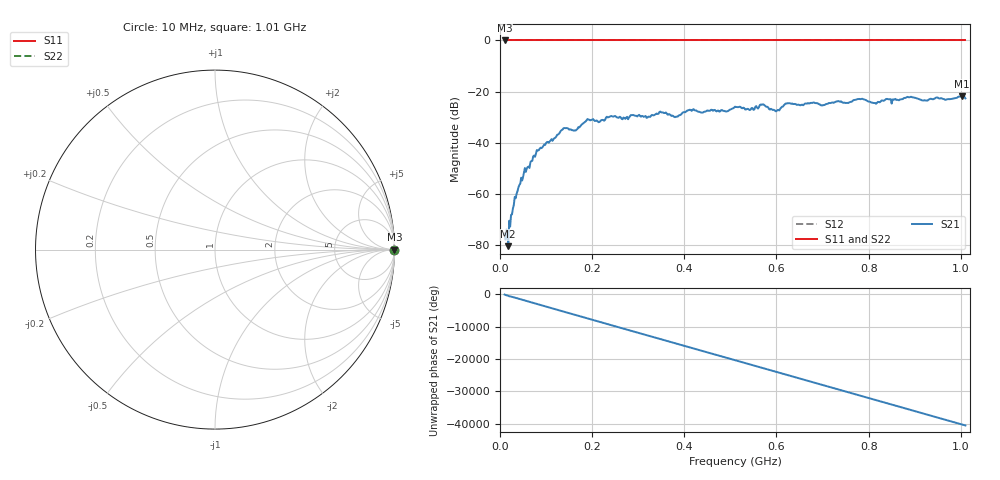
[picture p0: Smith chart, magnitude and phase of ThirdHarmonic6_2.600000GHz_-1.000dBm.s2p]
! 8/17/2025 5:37:36 AM
! C:\ANRITSUVNA\TEMP\TEMP.S2P
! CHANNEL.1
! TR.MEASUREMENT
! RAW.DATA
! RF.CORRECTION.OFF
! AVERAGING.OFF
! IF.BANDWIDTH: 5KHZ
! SWEEPTYPE:  FREQ.SWEEP(Linear)
! Reference Plane Port Info
! PORT:  PORT1  PORT2
! DISTANCE:  0  m  0  m
! TIME:  0  s  0  s
! PHASE.OFFSET:  0  deg.  0  deg.
! LOSS:  0  dB  0  dB
! REF.LOSS:  0  dB  0  dB
! REF.FREQ:  0  Hz  0  Hz
! Power Info
! POWER:  -20  dBm  -20  dBm
! EFF.POWER:  -20  dBm  -20  dBm
! SOURCE.ATTEN:  0  dB  0  dB
! TEST.ATTEN:  0  dB  0  dB
# GHZ S RI R 50.0
! FREQ.GHZ  S11RE  S11IM  S21RE  S21IM  S12RE  S12IM  S22RE  S22IM
!; PortSelection: Port_12
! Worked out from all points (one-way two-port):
!   501 points, 10 MHz to 1.01 GHz, reference 50 ohm
!   highest |S21| = -21.91 dB at 1.002 GHz (marker M1); lowest = -80.6 dB at 18 MHz (marker M2)
!   lowest |S11| = 0.0 dB at 10 MHz (marker M3)
!   |S11| at or under -10 dB: nowhere
!   |S22| runs from 0.0 to 0.0 dB; largest |S21 - S12| = 1.1
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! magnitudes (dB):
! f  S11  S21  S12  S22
! 10 MHz  0.0  -75.6  0.0  0.0
! 14 MHz  0.0  -74.1  0.0  0.0
! 18 MHz  0.0  -80.6  0.0  0.0
! 28 MHz  0.0  -65.8  0.0  0.0
! 42 MHz  0.0  -56.6  0.0  0.0
! 76 MHz  0.0  -45.6  0.0  0.0
! 136 MHz  0.0  -34.9  0.0  0.0
! 162 MHz  0.0  -35.2  0.0  0.0
! 178 MHz  0.0  -32.8  0.0  0.0
! 192 MHz  0.0  -30.9  0.0  0.0
! 344 MHz  0.0  -28.7  0.0  0.0
! 382 MHz  0.0  -29.9  0.0  0.0
! 410 MHz  0.0  -27.3  0.0  0.0
! 510 MHz  0.0  -26.0  0.0  0.0
! 546 MHz  0.0  -26.5  0.0  0.0
! 570 MHz  0.0  -25.0  0.0  0.0
! 602 MHz  0.0  -27.3  0.0  0.0
! 624 MHz  0.0  -24.6  0.0  0.0
! 678 MHz  0.0  -24.5  0.0  0.0
! 844 MHz  0.0  -23.1  0.0  0.0
! 1.002 GHz  0.0  -21.9  0.0  0.0
! 1.01 GHz  0.0  -22.7  0.0  0.0
